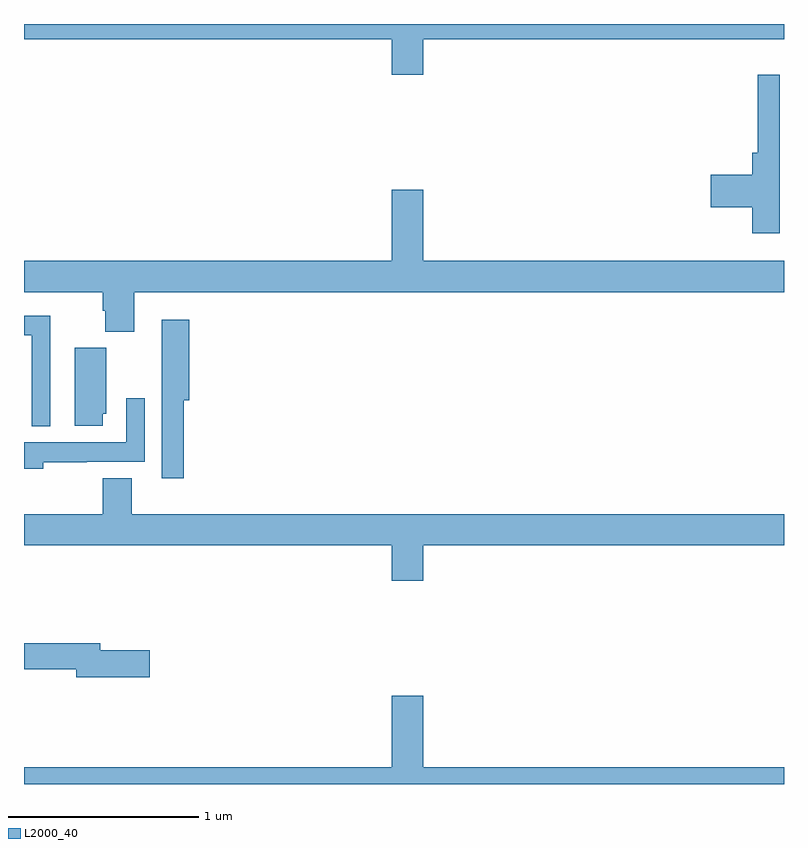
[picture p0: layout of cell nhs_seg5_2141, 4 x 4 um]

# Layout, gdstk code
import gdstk
lib = gdstk.Library(unit=1e-6, precision=1e-09)
def P(c, l, *ps):  # polygons
    for p in ps: c.add(gdstk.Polygon(p, *l))
L2000_40 = (2000, 40)

nhs_seg5_2141 = lib.new_cell('nhs_seg5_2141')
P(nhs_seg5_2141, L2000_40, [(237.1,896.72),(239,896.72),(239,896.799),(235,896.799),(235,896.72),(236.936,896.72),(236.936,896.532),(237.1,896.532)],
  [(238.978,895.989),(238.977,895.989),(238.977,896.533),(238.861,896.533),(238.861,896.122),(238.832,896.122),(238.832,896.006),(238.614,896.006),(238.614,895.835),(238.832,895.835),(238.832,895.698),(238.978,895.698)],
  [(235.58,895.388),(239,895.388),(239,895.552),(237.1,895.552),(237.1,895.927),(236.936,895.927),(236.936,895.552),(235,895.552),(235,895.388),(235.415,895.388),(235.415,895.289),(235.427,895.289),(235.427,895.18),(235.58,895.18)],
  [(235.138,895.264),(235,895.264),(235,895.16),(235.041,895.16),(235.041,894.683),(235.138,894.683)],
  [(235.841,894.818),(235.871,894.818),(235.871,895.243),(235.724,895.243),(235.724,894.922),(235.725,894.922),(235.725,894.408),(235.841,894.408)],
  [(235.414,894.747),(235.432,894.747),(235.432,895.095),(235.268,895.095),(235.268,894.684),(235.414,894.684)],
  [(235.1,894.492),(235.331,894.492),(235.331,894.494),(235.635,894.494),(235.635,894.829),(235.539,894.829),(235.539,894.598),(235,894.598),(235,894.458),(235.1,894.458)],
  [(237.1,894.056),(239,894.056),(239,894.22),(235.567,894.22),(235.567,894.409),(235.415,894.409),(235.415,894.22),(235,894.22),(235,894.056),(236.936,894.056),(236.936,893.868),(237.1,893.868)],
  [(235.663,893.504),(235.402,893.504),(235.402,893.54),(235,893.54),(235,893.404),(235.274,893.404),(235.274,893.362),(235.663,893.362)],
  [(239,892.888),(237.1,892.888),(237.1,893.263),(236.936,893.263),(236.936,892.888),(235,892.888),(235,892.799),(239,892.799)])

lib.write_gds('nhs_seg5_2141.gds')
